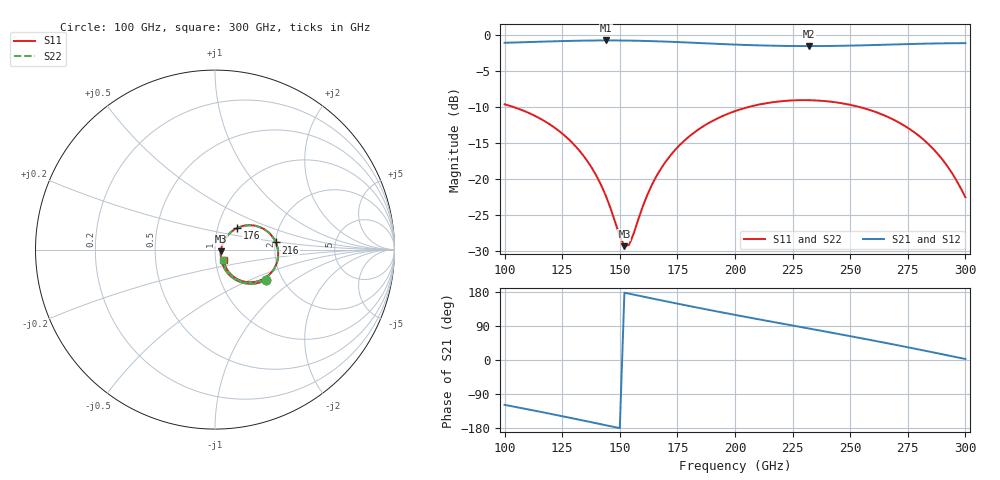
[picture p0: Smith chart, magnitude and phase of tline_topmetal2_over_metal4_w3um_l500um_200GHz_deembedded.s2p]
! Created with skrf 2.2.0 (http://scikit-rf.org).
# GHz S DB R 50.0
! Port[1] = P1
! Port[2] = P2
!freq dBS11 angS11 dBS21 angS21 dBS12 angS12 dBS22 angS22
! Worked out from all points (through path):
!   101 points, 100 GHz to 300 GHz, reference 50 ohm
!   highest |S21| = -0.75 dB at 144 GHz (marker M1); lowest = -1.5 dB at 232 GHz (marker M2)
!   group delay of S21, straight-line fit = 3.29 ps
!   lowest |S11| = -29.3 dB at 152 GHz (marker M3), VSWR 1.07, Z = 53.4 - j1.07 ohm
!   |S11| at or under -10 dB: 104 GHz to 205.7 GHz (101.7 GHz wide, 65.7 % of centre); 254.2 GHz to end of sweep
!   |S22| runs from -29.3 to -9.0 dB; largest |S21 - S12| = 1e-13
!   S11 on the Smith chart (normalised r, x): 100 GHz: 1.65, -0.62; 176 GHz: 1.24, +0.31; 216 GHz: 2.01, +0.18; 300 GHz: 1.09, -0.13
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100  -9.61 -30.5  -1.07 -118.4  -1.07 -118.4  -9.61 -30.6
120  -12.47 -50.4  -0.88 -142.2  -0.88 -142.2  -12.48 -50.6
134  -16.65 -61.7  -0.77 -159.6  -0.77 -159.6  -16.65 -61.9
140  -19.62 -63.2  -0.75 -167.2  -0.75 -167.2  -19.63 -63.5
144  -22.35 -60.6  -0.75 -172.2  -0.75 -172.2  -22.37 -60.8
150  -27.92 -37.0  -0.75 -179.9  -0.75 -179.9  -27.95 -37.2
152  -29.29 -16.9  -0.76 177.6  -0.76 177.6  -29.33 -17.1
154  -29.12 6.6  -0.77 175.1  -0.77 175.1  -29.15 6.6
162  -22.14 46.2  -0.82 164.9  -0.82 164.9  -22.14 46.1
168  -18.46 48.3  -0.88 157.4  -0.88 157.4  -18.46 48.1
176  -15.27 44.2  -0.98 147.5  -0.98 147.5  -15.26 44.0
186  -12.70 35.9  -1.12 135.4  -1.12 135.4  -12.70 35.7
200  -10.56 22.5  -1.32 119.1  -1.32 119.1  -10.56 22.3
216  -9.34 6.7  -1.47 101.0  -1.47 101.0  -9.34 6.4
232  -9.04 -9.1  -1.52 83.2  -1.52 83.2  -9.04 -9.5
234  -9.06 -11.1  -1.52 80.9  -1.52 80.9  -9.06 -11.5
252  -9.82 -28.7  -1.45 60.6  -1.45 60.6  -9.82 -29.2
268  -11.61 -43.8  -1.31 42.0  -1.31 42.0  -11.62 -44.4
278  -13.53 -52.3  -1.23 29.9  -1.23 29.9  -13.54 -53.0
286  -15.78 -57.4  -1.17 20.1  -1.17 20.1  -15.81 -58.2
294  -19.06 -58.2  -1.13 10.1  -1.13 10.1  -19.11 -59.3
300  -22.51 -50.7  -1.12 2.6  -1.12 2.6  -22.64 -52.1
